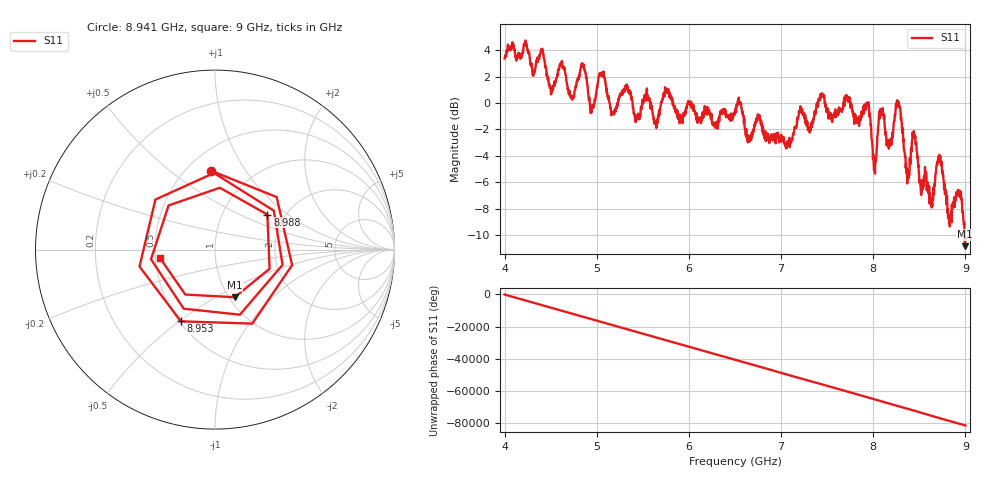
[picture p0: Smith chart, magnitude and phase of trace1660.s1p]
! Created with skrf 1.8.0 (http://scikit-rf.org).
# Hz S RI R 50.0
!freq ReS11 ImS11
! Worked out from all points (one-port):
!   1601 points, 4 GHz to 9 GHz, reference 50 ohm
!   lowest |S11| = -10.8 dB at 8.994 GHz (marker M1), VSWR 1.81, Z = 53.2 - j30.7 ohm
!   |S11| at or under -10 dB: 8.991505 GHz to end of sweep
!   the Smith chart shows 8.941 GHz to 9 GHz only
!   S11 on the Smith chart (normalised r, x): 8.941 GHz: 0.65, +0.71; 8.953 GHz: 0.51, -0.51; 8.988 GHz: 1.62, +0.72; 9 GHz: 0.53, -0.06
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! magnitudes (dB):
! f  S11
! 4 GHz  3.4
! 4.403 GHz  4.1
! 4.506 GHz  0.8
! 4.625 GHz  3.0
! 4.731 GHz  0.5
! 4.847 GHz  3.0
! 4.947 GHz  -0.4
! 5.05 GHz  2.2
! 5.25 GHz  0.6
! 5.875 GHz  -0.6
! 6.5 GHz  -0.6
! 7.125 GHz  -2.5
! 7.75 GHz  0.1
! 7.944 GHz  -0.1
! 8.016 GHz  -4.8
! 8.084 GHz  -0.6
! 8.175 GHz  -2.8
! 8.272 GHz  0.1
! 8.375 GHz  -5.4
! 8.444 GHz  -2.3
! 8.625 GHz  -7.5
! 8.716 GHz  -3.9
! 8.828 GHz  -8.7
! 8.941 GHz  -7.1
! 8.953 GHz  -7.1
! 8.988 GHz  -9.1
! 8.994 GHz  -10.8
! 9 GHz  -10.2
